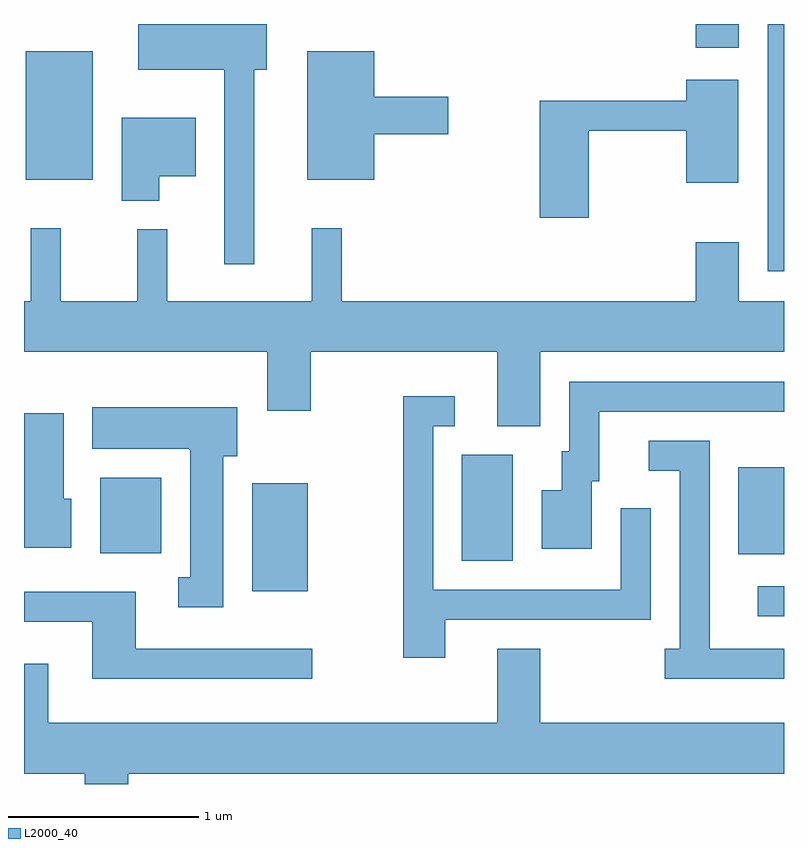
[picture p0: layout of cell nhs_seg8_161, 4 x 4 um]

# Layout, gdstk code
import gdstk
lib = gdstk.Library(unit=1e-6, precision=1e-09)
def R(c, l, rs):  # rectangles x0, y0, x1, y1
    for r in rs: c.add(gdstk.rectangle(r[:2], r[2:], *l))
def P(c, l, *ps):  # polygons
    for p in ps: c.add(gdstk.Polygon(p, *l))
L2000_40 = (2000, 40)

nhs_seg8_161 = lib.new_cell('nhs_seg8_161')
R(nhs_seg8_161, L2000_40, [(193.473,1857.226,193.611,1857.384), (190.811,1857.356,191.104,1857.924), (191.916,1857.516,192.184,1858.074), (193.371,1857.551,193.611,1858.009), (190.011,1857.556,190.334,1857.954), (193.526,1859.041,193.611,1860.342), (189.621,1859.521,189.974,1860.199), (193.146,1860.216,193.374,1860.342)])
P(nhs_seg8_161, L2000_40, [(190.824,1860.101),(190.889,1860.101),(190.889,1860.342),(190.211,1860.342),(190.211,1860.101),(190.666,1860.101),(190.666,1859.078),(190.824,1859.078)],
  [(191.454,1859.761),(191.844,1859.761),(191.844,1859.959),(191.454,1859.959),(191.454,1860.199),(191.101,1860.199),(191.101,1859.521),(191.454,1859.521)],
  [(192.584,1859.781),(193.096,1859.781),(193.096,1859.506),(193.369,1859.506),(193.369,1860.049),(193.096,1860.049),(193.096,1859.939),(192.326,1859.939),(192.326,1859.321),(192.584,1859.321)],
  [(190.324,1859.541),(190.514,1859.541),(190.514,1859.849),(190.126,1859.849),(190.126,1859.411),(190.324,1859.411)],
  [(192.329,1858.616),(193.611,1858.616),(193.611,1858.884),(193.374,1858.884),(193.374,1859.194),(193.146,1859.194),(193.146,1858.884),(191.284,1858.884),(191.284,1859.268),(191.126,1859.268),(191.126,1858.884),(190.364,1858.884),(190.364,1859.263),(190.206,1859.263),(190.206,1858.884),(189.804,1858.884),(189.804,1859.268),(189.646,1859.268),(189.646,1858.884),(189.611,1858.884),(189.611,1858.616),(190.891,1858.616),(190.891,1858.306),(191.119,1858.306),(191.119,1858.616),(192.101,1858.616),(192.101,1858.226),(192.329,1858.226)],
  [(192.599,1857.936),(192.639,1857.936),(192.639,1858.301),(193.611,1858.301),(193.611,1858.459),(192.481,1858.459),(192.481,1858.094),(192.441,1858.094),(192.441,1857.889),(192.336,1857.889),(192.336,1857.581),(192.599,1857.581)],
  [(191.829,1857.206),(192.909,1857.206),(192.909,1857.793),(192.751,1857.793),(192.751,1857.364),(191.764,1857.364),(191.764,1858.226),(191.878,1858.226),(191.878,1858.384),(191.606,1858.384),(191.606,1857.006),(191.829,1857.006)],
  [(190.659,1858.066),(190.734,1858.066),(190.734,1858.324),(189.971,1858.324),(189.971,1858.106),(190.48,1858.106),(190.48,1858.1),(190.486,1858.1),(190.486,1857.429),(190.423,1857.429),(190.423,1857.271),(190.659,1857.271)],
  [(189.859,1857.844),(189.819,1857.844),(189.819,1858.294),(189.611,1858.294),(189.611,1857.586),(189.859,1857.586)],
  [(193.611,1857.054),(193.219,1857.054),(193.219,1858.149),(192.898,1858.149),(192.898,1857.991),(193.061,1857.991),(193.061,1857.054),(192.983,1857.054),(192.983,1856.896),(193.611,1856.896)],
  [(191.128,1857.054),(190.199,1857.054),(190.199,1857.354),(189.611,1857.354),(189.611,1857.196),(189.971,1857.196),(189.971,1856.896),(191.128,1856.896)],
  [(190.159,1856.396),(193.611,1856.396),(193.611,1856.664),(192.329,1856.664),(192.329,1857.054),(192.101,1857.054),(192.101,1856.664),(189.739,1856.664),(189.739,1856.974),(189.611,1856.974),(189.611,1856.396),(189.931,1856.396),(189.931,1856.342),(190.159,1856.342)])

lib.write_gds('nhs_seg8_161.gds')
